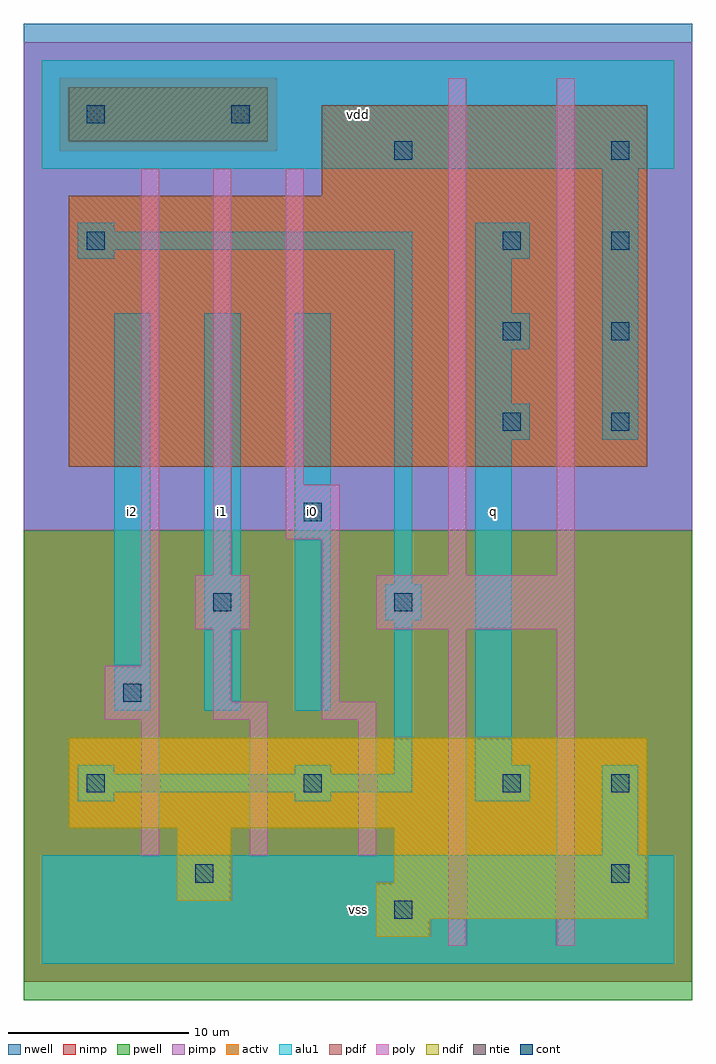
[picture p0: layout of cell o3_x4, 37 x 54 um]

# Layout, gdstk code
import gdstk
lib = gdstk.Library(unit=1e-6, precision=1e-09)
def R(c, l, rs):  # rectangles x0, y0, x1, y1
    for r in rs: c.add(gdstk.rectangle(r[:2], r[2:], *l))
def A(c, l, x, y, w, h, nx, ny, dx, dy):  # array of equal rectangles
    R(c, l, [(x+i*dx, y+j*dy, x+i*dx+w, y+j*dy+h) for i in range(nx) for j in range(ny)])
ndif = (3, 0)
pdif = (4, 0)
ntie = (5, 0)
cont = (25, 0)
pwell = (41, 0)
nwell = (42, 0)
activ = (43, 0)
pimp = (44, 0)
nimp = (45, 0)
poly = (46, 0)
alu1 = (49, 0)

o3_x4 = lib.new_cell('o3_x4')
R(o3_x4, ndif, [(18.5,1.5,21.5,2.5), (18.5,2.5,33.5,4.5), (7.5,3.5,10.5,7.5), (19.5,4.5,33.5,7.5), (1.5,7.5,33.5,12.5)])
R(o3_x4, pdif, [(1.5,27.5,33.5,42.5), (15.5,42.5,33.5,47.5)])
R(o3_x4, ntie, [(1.5,45.5,12.5,48.5)])
A(o3_x4, cont, 25.5, 29.5, 1, 1, 1, 3, 0, 5)
A(o3_x4, cont, 31.5, 29.5, 1, 1, 1, 4, 0, 5)
R(o3_x4, cont, [(19.5,2.5,20.5,3.5), (8.5,4.5,9.5,5.5), (31.5,4.5,32.5,5.5), (2.5,9.5,3.5,10.5), (14.5,9.5,15.5,10.5), (25.5,9.5,26.5,10.5), (31.5,9.5,32.5,10.5), (4.5,14.5,5.5,15.5), (9.5,19.5,10.5,20.5), (19.5,19.5,20.5,20.5), (14.5,24.5,15.5,25.5), (2.5,39.5,3.5,40.5), (19.5,44.5,20.5,45.5), (2.5,46.5,3.5,47.5), (10.5,46.5,11.5,47.5)])
R(o3_x4, pwell, [(-1,-2,36,24)])
R(o3_x4, nwell, [(-1,24,36,52)])
R(o3_x4, activ, [(18.5,1.5,21.5,2.5), (18.5,2.5,33.5,4.5), (7.5,3.5,10.5,7.5), (19.5,4.5,33.5,7.5), (1.5,7.5,33.5,12.5), (1.5,27.5,33.5,42.5), (15.5,42.5,33.5,47.5), (1.5,45.5,12.5,48.5)])
R(o3_x4, pimp, [(-1,24,36,45), (-1,45,1,49), (13,45,36,49), (-1,49,36,51)])
R(o3_x4, nimp, [(-1,-1,36,24), (1,45,13,49)])
A(o3_x4, poly, 5.5, 6, 1, 7.5, 3, 1, 6, 0)
R(o3_x4, poly, [(22.5,1,23.5,18.5), (28.5,1,29.5,18.5), (3.5,13.5,6.5,16.5), (9.5,13.5,12.5,14.5), (15.5,13.5,18.5,14.5), (9.5,14.5,10.5,18.5), (15.5,14.5,16.5,23.5), (5.5,16.5,6.5,44), (8.5,18.5,11.5,21.5), (18.5,18.5,29.5,21.5), (9.5,21.5,10.5,44), (22.5,21.5,23.5,49), (28.5,21.5,29.5,49), (13.5,23.5,16.5,26.5), (13.5,26.5,14.5,44)])
A(o3_x4, alu1, 4, 14, 2, 22, 3, 1, 5, 0)
A(o3_x4, alu1, 24, 29, 3, 2, 1, 3, 0, 5)
R(o3_x4, alu1, [(0,0,35,6), (31,6,33,11), (2,9,4,9.5), (14,9,16,9.5), (24,9,27,11), (2,9.5,20.5,10.5), (2,10.5,4,11), (14,10.5,16,11), (19.5,10.5,20.5,19), (24,11,26,29), (19,19,21,21), (19.5,21,20.5,39.5), (31,29,33,44), (24,31,26,34), (24,36,26,39), (2,39,4,39.5), (2,39.5,20.5,40.5), (2,40.5,4,41), (0,44,35,50)])
o3_x4.add(gdstk.Label('i2', (5,25), layer=49, texttype=0))
o3_x4.add(gdstk.Label('i0', (15,25), layer=49, texttype=0))
o3_x4.add(gdstk.Label('i1', (10,25), layer=49, texttype=0))
o3_x4.add(gdstk.Label('vss', (17.5,3), layer=49, texttype=0))
o3_x4.add(gdstk.Label('q', (25,25), layer=49, texttype=0))
o3_x4.add(gdstk.Label('vdd', (17.5,47), layer=49, texttype=0))

lib.write_gds('o3_x4.gds')
